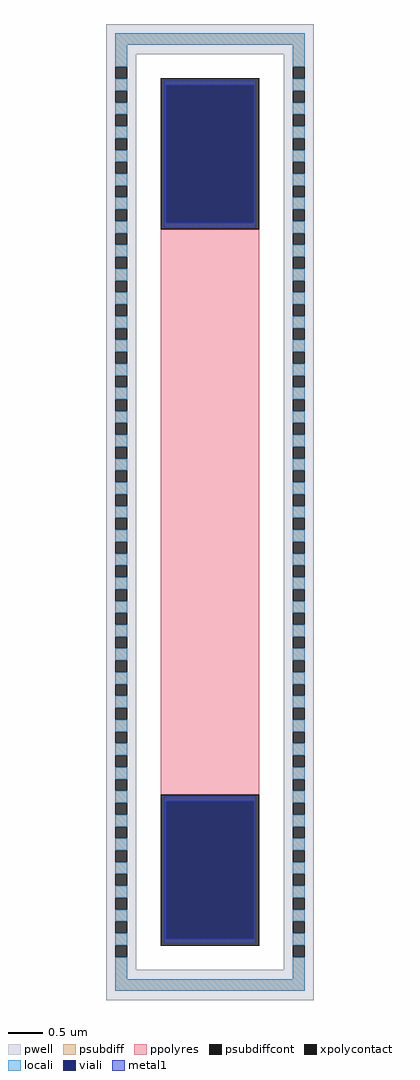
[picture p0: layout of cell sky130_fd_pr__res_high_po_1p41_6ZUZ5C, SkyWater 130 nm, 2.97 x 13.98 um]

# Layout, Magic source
magic
tech sky130A
magscale 1 2
<< pwell >>
rect -297 1312 297 1398
rect -297 -1312 -211 1312
rect 211 -1312 297 1312
rect -297 -1398 297 -1312
<< psubdiff >>
rect -271 1338 271 1372
rect -271 1275 -237 1338
rect 237 1275 271 1338
rect -271 1207 -237 1241
rect -271 1139 -237 1173
rect -271 1071 -237 1105
rect -271 1003 -237 1037
rect -271 935 -237 969
rect -271 867 -237 901
rect -271 799 -237 833
rect -271 731 -237 765
rect -271 663 -237 697
rect -271 595 -237 629
rect -271 527 -237 561
rect -271 459 -237 493
rect -271 391 -237 425
rect -271 323 -237 357
rect -271 255 -237 289
rect -271 187 -237 221
rect -271 119 -237 153
rect -271 51 -237 85
rect -271 -17 -237 17
rect -271 -85 -237 -51
rect -271 -153 -237 -119
rect -271 -221 -237 -187
rect -271 -289 -237 -255
rect -271 -357 -237 -323
rect -271 -425 -237 -391
rect -271 -493 -237 -459
rect -271 -561 -237 -527
rect -271 -629 -237 -595
rect -271 -697 -237 -663
rect -271 -765 -237 -731
rect -271 -833 -237 -799
rect -271 -901 -237 -867
rect -271 -969 -237 -935
rect -271 -1037 -237 -1003
rect -271 -1105 -237 -1071
rect -271 -1173 -237 -1139
rect -271 -1241 -237 -1207
rect 237 1207 271 1241
rect 237 1139 271 1173
rect 237 1071 271 1105
rect 237 1003 271 1037
rect 237 935 271 969
rect 237 867 271 901
rect 237 799 271 833
rect 237 731 271 765
rect 237 663 271 697
rect 237 595 271 629
rect 237 527 271 561
rect 237 459 271 493
rect 237 391 271 425
rect 237 323 271 357
rect 237 255 271 289
rect 237 187 271 221
rect 237 119 271 153
rect 237 51 271 85
rect 237 -17 271 17
rect 237 -85 271 -51
rect 237 -153 271 -119
rect 237 -221 271 -187
rect 237 -289 271 -255
rect 237 -357 271 -323
rect 237 -425 271 -391
rect 237 -493 271 -459
rect 237 -561 271 -527
rect 237 -629 271 -595
rect 237 -697 271 -663
rect 237 -765 271 -731
rect 237 -833 271 -799
rect 237 -901 271 -867
rect 237 -969 271 -935
rect 237 -1037 271 -1003
rect 237 -1105 271 -1071
rect 237 -1173 271 -1139
rect 237 -1241 271 -1207
rect -271 -1338 -237 -1275
rect 237 -1338 271 -1275
rect -271 -1372 271 -1338
<< psubdiffcont >>
rect -271 1241 -237 1275
rect -271 1173 -237 1207
rect -271 1105 -237 1139
rect -271 1037 -237 1071
rect -271 969 -237 1003
rect -271 901 -237 935
rect -271 833 -237 867
rect -271 765 -237 799
rect -271 697 -237 731
rect -271 629 -237 663
rect -271 561 -237 595
rect -271 493 -237 527
rect -271 425 -237 459
rect -271 357 -237 391
rect -271 289 -237 323
rect -271 221 -237 255
rect -271 153 -237 187
rect -271 85 -237 119
rect -271 17 -237 51
rect -271 -51 -237 -17
rect -271 -119 -237 -85
rect -271 -187 -237 -153
rect -271 -255 -237 -221
rect -271 -323 -237 -289
rect -271 -391 -237 -357
rect -271 -459 -237 -425
rect -271 -527 -237 -493
rect -271 -595 -237 -561
rect -271 -663 -237 -629
rect -271 -731 -237 -697
rect -271 -799 -237 -765
rect -271 -867 -237 -833
rect -271 -935 -237 -901
rect -271 -1003 -237 -969
rect -271 -1071 -237 -1037
rect -271 -1139 -237 -1105
rect -271 -1207 -237 -1173
rect -271 -1275 -237 -1241
rect 237 1241 271 1275
rect 237 1173 271 1207
rect 237 1105 271 1139
rect 237 1037 271 1071
rect 237 969 271 1003
rect 237 901 271 935
rect 237 833 271 867
rect 237 765 271 799
rect 237 697 271 731
rect 237 629 271 663
rect 237 561 271 595
rect 237 493 271 527
rect 237 425 271 459
rect 237 357 271 391
rect 237 289 271 323
rect 237 221 271 255
rect 237 153 271 187
rect 237 85 271 119
rect 237 17 271 51
rect 237 -51 271 -17
rect 237 -119 271 -85
rect 237 -187 271 -153
rect 237 -255 271 -221
rect 237 -323 271 -289
rect 237 -391 271 -357
rect 237 -459 271 -425
rect 237 -527 271 -493
rect 237 -595 271 -561
rect 237 -663 271 -629
rect 237 -731 271 -697
rect 237 -799 271 -765
rect 237 -867 271 -833
rect 237 -935 271 -901
rect 237 -1003 271 -969
rect 237 -1071 271 -1037
rect 237 -1139 271 -1105
rect 237 -1207 271 -1173
rect 237 -1275 271 -1241
<< xpolycontact >>
rect -141 810 141 1242
rect -141 -1242 141 -810
<< ppolyres >>
rect -141 -810 141 810
<< locali >>
rect -271 1338 271 1372
rect -271 1275 -237 1338
rect 237 1275 271 1338
rect -271 1207 -237 1241
rect -271 1139 -237 1173
rect -271 1071 -237 1105
rect -271 1003 -237 1037
rect -271 935 -237 969
rect -271 867 -237 901
rect -271 799 -237 833
rect 237 1207 271 1241
rect 237 1139 271 1173
rect 237 1071 271 1105
rect 237 1003 271 1037
rect 237 935 271 969
rect 237 867 271 901
rect -271 731 -237 765
rect -271 663 -237 697
rect -271 595 -237 629
rect -271 527 -237 561
rect -271 459 -237 493
rect -271 391 -237 425
rect -271 323 -237 357
rect -271 255 -237 289
rect -271 187 -237 221
rect -271 119 -237 153
rect -271 51 -237 85
rect -271 -17 -237 17
rect -271 -85 -237 -51
rect -271 -153 -237 -119
rect -271 -221 -237 -187
rect -271 -289 -237 -255
rect -271 -357 -237 -323
rect -271 -425 -237 -391
rect -271 -493 -237 -459
rect -271 -561 -237 -527
rect -271 -629 -237 -595
rect -271 -697 -237 -663
rect -271 -765 -237 -731
rect -271 -833 -237 -799
rect 237 799 271 833
rect 237 731 271 765
rect 237 663 271 697
rect 237 595 271 629
rect 237 527 271 561
rect 237 459 271 493
rect 237 391 271 425
rect 237 323 271 357
rect 237 255 271 289
rect 237 187 271 221
rect 237 119 271 153
rect 237 51 271 85
rect 237 -17 271 17
rect 237 -85 271 -51
rect 237 -153 271 -119
rect 237 -221 271 -187
rect 237 -289 271 -255
rect 237 -357 271 -323
rect 237 -425 271 -391
rect 237 -493 271 -459
rect 237 -561 271 -527
rect 237 -629 271 -595
rect 237 -697 271 -663
rect 237 -765 271 -731
rect -271 -901 -237 -867
rect -271 -969 -237 -935
rect -271 -1037 -237 -1003
rect -271 -1105 -237 -1071
rect -271 -1173 -237 -1139
rect -271 -1241 -237 -1207
rect 237 -833 271 -799
rect 237 -901 271 -867
rect 237 -969 271 -935
rect 237 -1037 271 -1003
rect 237 -1105 271 -1071
rect 237 -1173 271 -1139
rect 237 -1241 271 -1207
rect -271 -1338 -237 -1275
rect 237 -1338 271 -1275
rect -271 -1372 271 -1338
<< viali >>
rect -125 828 125 1222
rect -125 -1223 125 -829
<< metal1 >>
rect -131 1222 131 1236
rect -131 828 -125 1222
rect 125 828 131 1222
rect -131 815 131 828
rect -131 -829 131 -815
rect -131 -1223 -125 -829
rect 125 -1223 131 -829
rect -131 -1236 131 -1223
<< properties >>
string FIXED_BBOX -254 -1355 254 1355
<< end >>
